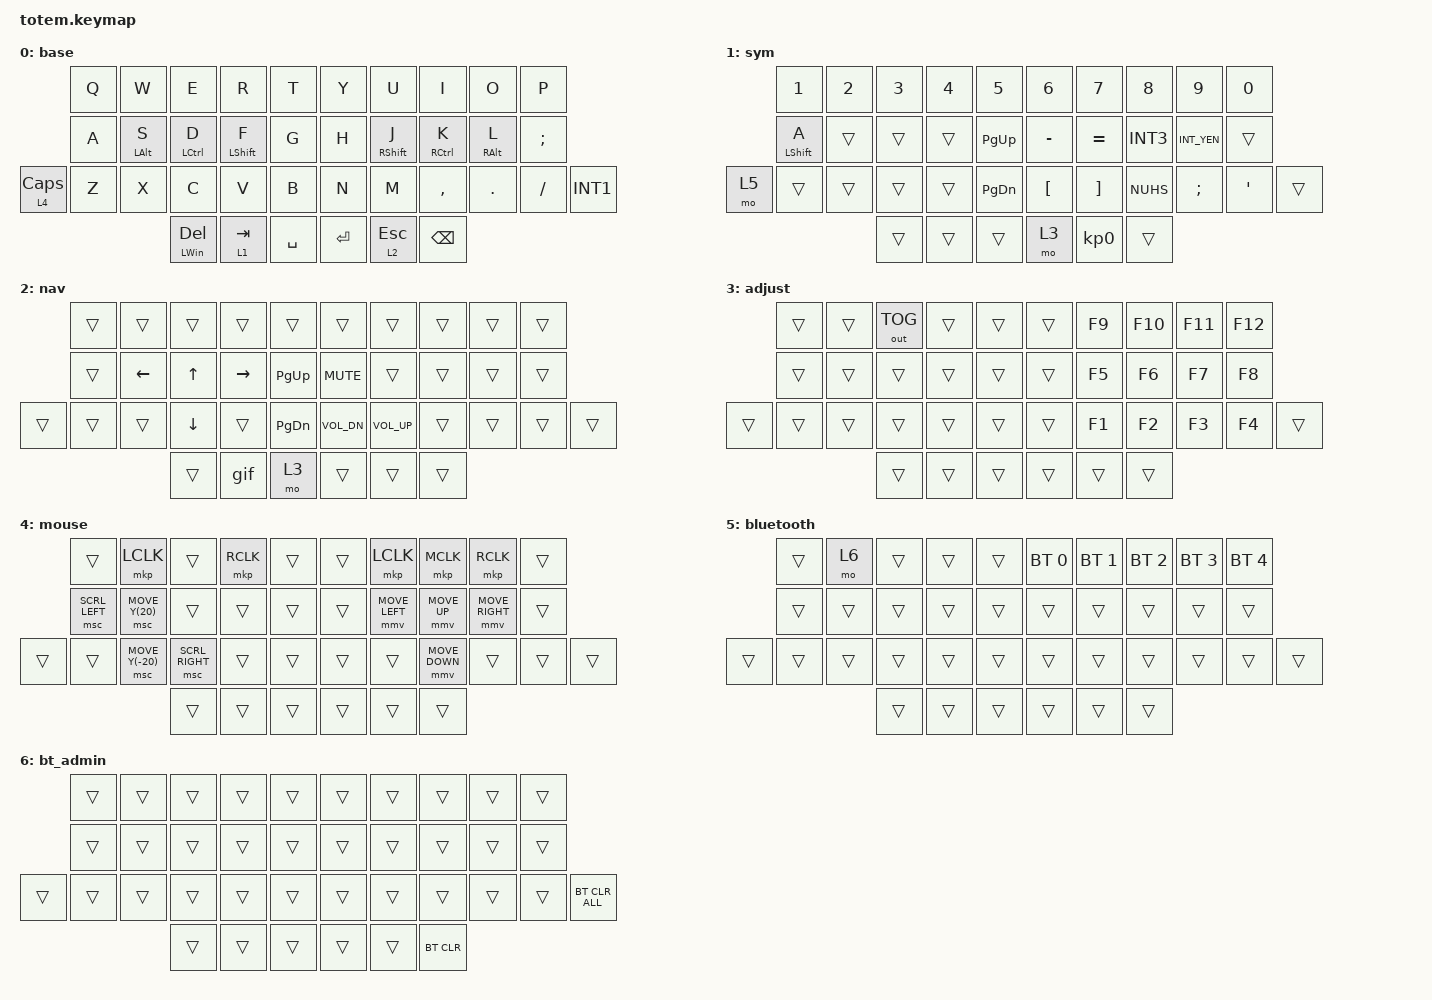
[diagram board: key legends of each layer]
//
//                                                        ▀▀▀▀▀     ▀▀▀▀▀          ▀▀█▀▀
//                                                        ▄▀▀▀▄  ▄  ▄▀▀▀▄  ▄  ▄▀▀▀▄  █  ▄▀▀▀▄
//                                                        █   █  █  █   █  █  █   █  █  █   █
//                                                         ▀▀▀   █   ▀▀▀   █   ▀▀▀   ▀   ▀▀▀
//                                                               █      ▄▄▄█▄▄▄    █   █  
//                                                               ▀      █  █  █     █▄█
//                                                             ▀▀▀▀▀    █  █  █      ▀
//                                                                      ▀  ▀  ▀
//
// ▄▄▄▄▄▄▄▄▄▄▄▄▄▄▄▄▄▄▄▄▄▄▄▄▄▄▄▄▄▄▄▄▄▄▄▄▄▄▄▄▄▄▄▄▄▄▄▄▄▄▄▄▄▄▄▄▄▄▄▄▄▄▄▄▄▄▄▄▄▄▄▄▄▄▄▄▄▄▄▄▄▄▄▄▄▄▄▄▄▄▄▄▄▄▄▄▄▄▄▄▄▄▄▄▄▄▄▄▄▄▄▄▄▄▄▄▄▄▄▄▄▄▄▄▄▄▄▄▄▄▄▄▄▄▄▄▄▄▄▄▄▄▄▄▄▄▄▄▄

#include <behaviors.dtsi>
#include <dt-bindings/zmk/bt.h>
#include <dt-bindings/zmk/keys.h>
#include <dt-bindings/zmk/outputs.h>
#include <dt-bindings/zmk/pointing.h>

#define BASE 0
#define NAV  1
#define SYM  2
#define ADJ  3
#define TVP1 4
#define TVP2 5

&mt {
    quick-tap-ms = <100>;
    global-quick-tap;
    flavor = "tap-preferred";
    tapping-term-ms = <170>;
};

/ {
    combos {
        compatible = "zmk,combos";

        combo_esc {
            timeout-ms = <50>;
            key-positions = <0 1>;
            bindings = <&kp ESC>;
        };

        bt_prof_clear_all {
            bindings = <&bt BT_CLR_ALL>;
            key-positions = <12 13 14 15 16 17>;
        };
    };

    macros {
        gif: gif {
            label = "giphy";
            compatible = "zmk,behavior-macro";
            #binding-cells = <0>;
            bindings =
                <&macro_press>,
                <&kp LSHFT>,
                <&macro_tap>,
                <&kp N2>,
                <&macro_release>,
                <&kp LSHFT>,
                <&macro_tap>,
                <&kp G &kp I &kp F>;
        };
    };

    keymap {
        compatible = "zmk,keymap";

        // ▄▄▄▄▄▄▄▄▄▄▄▄▄▄▄▄▄▄▄▄▄▄▄▄▄▄▄▄▄▄▄▄▄▄▄▄▄▄▄▄▄▄▄▄▄▄▄▄▄▄▄▄▄▄▄▄▄▄▄▄▄▄▄▄▄▄▄▄▄▄▄▄▄▄▄▄▄▄▄▄▄▄▄▄▄▄▄▄▄▄▄▄▄▄▄▄▄▄▄▄▄▄▄▄▄▄▄▄▄▄▄▄▄▄▄▄▄▄▄▄▄▄▄▄▄▄▄▄▄▄▄▄▄▄▄▄▄▄▄▄▄▄▄▄▄▄▄▄▄

        base_layer {
            display-name = "base";

            // ┏━━━━━━━━━━━━━━━━━━━━━━━━━━━━━━━━━━━━━━━┓

            label = "BASE";

            // ┗━━━━━━━━━━━━━━━━━━━━━━━━━━━━━━━━━━━━━━━┛
            //             ┏━━━━━━━━━━━┳━━━━━━━━━━━┳━━━━━━━━━━━┳━━━━━━━━━━━┳━━━━━━━━━━━┓   ┏━━━━━━━━━━━┳━━━━━━━━━━━┳━━━━━━━━━━━┳━━━━━━━━━━━┳━━━━━━━━━━━┓
            //             ┃     Q     ┃     W     ┃     F     ┃     P     ┃     G     ┃   ┃     J     ┃     L     ┃     U     ┃     Y     ┃     ;     ┃
            //             ┣━━━━━━━━━━━╋━━━━━━━━━━━╋━━━━━━━━━━━╋━━━━━━━━━━━╋━━━━━━━━━━━┫   ┣━━━━━━━━━━━╋━━━━━━━━━━━╋━━━━━━━━━━━╋━━━━━━━━━━━╋━━━━━━━━━━━┫
            //             ┃     A     ┃     R     ┃     S     ┃     T     ┃     D     ┃   ┃     H     ┃     N     ┃     E     ┃     I     ┃     O     ┃
            // ┏━━━━━━━━━━━╋━━━━━━━━━━━╋━━━━━━━━━━━╋━━━━━━━━━━━╋━━━━━━━━━━━╋━━━━━━━━━━━┫   ┣━━━━━━━━━━━╋━━━━━━━━━━━╋━━━━━━━━━━━╋━━━━━━━━━━━╋━━━━━━━━━━━╋━━━━━━━━━━━┓
            // ┃     Q     ┃     Z     ┃     X     ┃     C     ┃     V     ┃     B     ┃   ┃     K     ┃     M     ┃     ,     ┃     .     ┃     /     ┃     \     ┃
            // ┗━━━━━━━━━━━┻━━━━━━━━━━━┻━━━━━━━━━━━╋━━━━━━━━━━━╋━━━━━━━━━━━╋━━━━━━━━━━━┫   ┣━━━━━━━━━━━╋━━━━━━━━━━━╋━━━━━━━━━━━╋━━━━━━━━━━━┻━━━━━━━━━━━┻━━━━━━━━━━━┛
            //                                     ┃    DEL    ┃    TAB    ┃    SPC    ┃   ┃   ENTER   ┃           ┃   BSPC    ┃
            //                                     ┗━━━━━━━━━━━┻━━━━━━━━━━━┻━━━━━━━━━━━┛   ┗━━━━━━━━━━━┻━━━━━━━━━━━┻━━━━━━━━━━━┛

            bindings = <
                &kp Q  &kp W       &kp E                &kp R        &kp T        &kp Y    &kp U        &kp I        &kp O       &kp P
                &kp A  &mt LALT S  &mt LCTRL D          &mt LSHFT F  &kp G        &kp H    &mt RSHFT J  &mt RCTRL K  &mt RALT L  &kp SEMICOLON
&lt 4 CAPSLOCK  &kp Z  &kp X       &kp C                &kp V        &kp B        &kp N    &kp M        &kp COMMA    &kp DOT     &kp FSLH       &kp INT1
                                   &mt LEFT_WIN DELETE  &lt 1 TAB    &kp SPACE    &kp RET  &lt 2 ESC    &kp BSPC
            >;
        };

        // ▄▄▄▄▄▄▄▄▄▄▄▄▄▄▄▄▄▄▄▄▄▄▄▄▄▄▄▄▄▄▄▄▄▄▄▄▄▄▄▄▄▄▄▄▄▄▄▄▄▄▄▄▄▄▄▄▄▄▄▄▄▄▄▄▄▄▄▄▄▄▄▄▄▄▄▄▄▄▄▄▄▄▄▄▄▄▄▄▄▄▄▄▄▄▄▄▄▄▄▄▄▄▄▄▄▄▄▄▄▄▄▄▄▄▄▄▄▄▄▄▄▄▄▄▄▄▄▄▄▄▄▄▄▄▄▄▄▄▄▄▄▄▄▄▄▄▄▄▄

        sym {
            display-name = "sym";

            // ┏━━━━━━━━━━━━━━━━━━━━━━━━━━━━━━━━━━━━━━━┓

            label = "sym";

            // ┗━━━━━━━━━━━━━━━━━━━━━━━━━━━━━━━━━━━━━━━┛
            //             ┏━━━━━━━━━━━┳━━━━━━━━━━━┳━━━━━━━━━━━┳━━━━━━━━━━━┳━━━━━━━━━━━┓   ┏━━━━━━━━━━━┳━━━━━━━━━━━┳━━━━━━━━━━━┳━━━━━━━━━━━┳━━━━━━━━━━━┓
            //             ┃           ┃           ┃     UP    ┃           ┃     {     ┃   ┃     }     ┃     7     ┃     8     ┃     9     ┃     +     ┃
            //             ┣━━━━━━━━━━━╋━━━━━━━━━━━╋━━━━━━━━━━━╋━━━━━━━━━━━╋━━━━━━━━━━━┫   ┣━━━━━━━━━━━╋━━━━━━━━━━━╋━━━━━━━━━━━╋━━━━━━━━━━━╋━━━━━━━━━━━┫
            //             ┃   SHIFT   ┃   LEFT    ┃    DOWN   ┃   RIGHT   ┃     [     ┃   ┃     ]     ┃     4     ┃     5     ┃     6     ┃     -     ┃
            // ┏━━━━━━━━━━━╋━━━━━━━━━━━╋━━━━━━━━━━━╋━━━━━━━━━━━╋━━━━━━━━━━━╋━━━━━━━━━━━┫   ┣━━━━━━━━━━━╋━━━━━━━━━━━╋━━━━━━━━━━━╋━━━━━━━━━━━╋━━━━━━━━━━━╋━━━━━━━━━━━┓
            // ┃           ┃           ┃   P UP    ┃  C LOCK   ┃  P DOWN   ┃     (     ┃   ┃     )     ┃     1     ┃     2     ┃     3     ┃     *     ┃           ┃
            // ┗━━━━━━━━━━━┻━━━━━━━━━━━┻━━━━━━━━━━━╋━━━━━━━━━━━╋━━━━━━━━━━━╋━━━━━━━━━━━┫   ┣━━━━━━━━━━━╋━━━━━━━━━━━╋━━━━━━━━━━━╋━━━━━━━━━━━┻━━━━━━━━━━━┻━━━━━━━━━━━┛
            //                                     ┃           ┃    TAB    ┃    SPC    ┃   ┃    DEL    ┃     0     ┃           ┃
            //                                     ┗━━━━━━━━━━━┻━━━━━━━━━━━┻━━━━━━━━━━━┛   ┗━━━━━━━━━━━┻━━━━━━━━━━━┻━━━━━━━━━━━┛

            bindings = <
       &kp NUMBER_1  &kp NUMBER_2  &kp NUMBER_3  &kp NUMBER_4  &kp NUMBER_5    &kp NUMBER_6      &kp NUMBER_7       &kp NUMBER_8  &kp NUMBER_9   &kp NUMBER_0
       &mt LSHFT A   &trans        &trans        &trans        &kp PG_UP       &kp MINUS         &kp EQUAL          &kp INT3      &kp INT_YEN    &trans
&mo 5  &trans        &trans        &trans        &trans        &kp PG_DN       &kp LEFT_BRACKET  &kp RIGHT_BRACKET  &kp NUHS      &kp SEMICOLON  &kp SINGLE_QUOTE  &trans
                                   &trans        &trans        &trans          &mo 3             &kp KP_N0          &trans
            >;
        };

        // ▄▄▄▄▄▄▄▄▄▄▄▄▄▄▄▄▄▄▄▄▄▄▄▄▄▄▄▄▄▄▄▄▄▄▄▄▄▄▄▄▄▄▄▄▄▄▄▄▄▄▄▄▄▄▄▄▄▄▄▄▄▄▄▄▄▄▄▄▄▄▄▄▄▄▄▄▄▄▄▄▄▄▄▄▄▄▄▄▄▄▄▄▄▄▄▄▄▄▄▄▄▄▄▄▄▄▄▄▄▄▄▄▄▄▄▄▄▄▄▄▄▄▄▄▄▄▄▄▄▄▄▄▄▄▄▄▄▄▄▄▄▄▄▄▄▄▄▄▄

        nav {
            display-name = "nav";

            // ┏━━━━━━━━━━━━━━━━━━━━━━━━━━━━━━━━━━━━━━━┓

            label = "NAV";

            // ┗━━━━━━━━━━━━━━━━━━━━━━━━━━━━━━━━━━━━━━━┛
            //             ┏━━━━━━━━━━━┳━━━━━━━━━━━┳━━━━━━━━━━━┳━━━━━━━━━━━┳━━━━━━━━━━━┓   ┏━━━━━━━━━━━┳━━━━━━━━━━━┳━━━━━━━━━━━┳━━━━━━━━━━━┳━━━━━━━━━━━┓
            //             ┃     !     ┃     @     ┃     #     ┃     $     ┃     %     ┃   ┃     ˆ     ┃     &     ┃     Ü     ┃     '     ┃     "     ┃
            //             ┣━━━━━━━━━━━╋━━━━━━━━━━━╋━━━━━━━━━━━╋━━━━━━━━━━━╋━━━━━━━━━━━┫   ┣━━━━━━━━━━━╋━━━━━━━━━━━╋━━━━━━━━━━━╋━━━━━━━━━━━╋━━━━━━━━━━━┫
            //             ┃     Ä     ┃           ┃    SZ     ┃           ┃           ┃   ┃   MUTE    ┃   YEN     ┃   EURO    ┃  POUND    ┃     Ö     ┃
            // ┏━━━━━━━━━━━╋━━━━━━━━━━━╋━━━━━━━━━━━╋━━━━━━━━━━━╋━━━━━━━━━━━╋━━━━━━━━━━━┫   ┣━━━━━━━━━━━╋━━━━━━━━━━━╋━━━━━━━━━━━╋━━━━━━━━━━━╋━━━━━━━━━━━╋━━━━━━━━━━━┓
            // ┃           ┃  EMAIL1   ┃  EMAIL2   ┃           ┃           ┃           ┃   ┃   VOL-    ┃   VOL+    ┃   LAST    ┃   NEXT    ┃     \     ┃           ┃
            // ┗━━━━━━━━━━━┻━━━━━━━━━━━┻━━━━━━━━━━━╋━━━━━━━━━━━╋━━━━━━━━━━━╋━━━━━━━━━━━┫   ┣━━━━━━━━━━━╋━━━━━━━━━━━╋━━━━━━━━━━━╋━━━━━━━━━━━┻━━━━━━━━━━━┻━━━━━━━━━━━┛
            //                                     ┃           ┃    GIF    ┃    ADJ    ┃   ┃           ┃           ┃           ┃
            //                                     ┗━━━━━━━━━━━┻━━━━━━━━━━━┻━━━━━━━━━━━┛   ┗━━━━━━━━━━━┻━━━━━━━━━━━┻━━━━━━━━━━━┛

            bindings = <
        &trans  &trans    &trans    &trans     &trans           &trans        &trans        &trans  &trans  &trans
        &trans  &kp LEFT  &kp UP    &kp RIGHT  &kp PG_UP        &kp C_MUTE    &trans        &trans  &trans  &trans
&trans  &trans  &trans    &kp DOWN  &trans     &kp PAGE_DOWN    &kp C_VOL_DN  &kp C_VOL_UP  &trans  &trans  &trans  &trans
                          &trans    &gif       &mo 3            &trans        &trans        &trans
            >;
        };

        // ▄▄▄▄▄▄▄▄▄▄▄▄▄▄▄▄▄▄▄▄▄▄▄▄▄▄▄▄▄▄▄▄▄▄▄▄▄▄▄▄▄▄▄▄▄▄▄▄▄▄▄▄▄▄▄▄▄▄▄▄▄▄▄▄▄▄▄▄▄▄▄▄▄▄▄▄▄▄▄▄▄▄▄▄▄▄▄▄▄▄▄▄▄▄▄▄▄▄▄▄▄▄▄▄▄▄▄▄▄▄▄▄▄▄▄▄▄▄▄▄▄▄▄▄▄▄▄▄▄▄▄▄▄▄▄▄▄▄▄▄▄▄▄▄▄▄▄▄▄

        adjust_layer {
            display-name = "adjust";

            // ┏━━━━━━━━━━━━━━━━━━━━━━━━━━━━━━━━━━━━━━━┓

            label = "ADJ";

            // ┗━━━━━━━━━━━━━━━━━━━━━━━━━━━━━━━━━━━━━━━┛
            //             ┏━━━━━━━━━━━┳━━━━━━━━━━━┳━━━━━━━━━━━┳━━━━━━━━━━━┳━━━━━━━━━━━┓   ┏━━━━━━━━━━━┳━━━━━━━━━━━┳━━━━━━━━━━━┳━━━━━━━━━━━┳━━━━━━━━━━━┓
            //             ┃   RESET   ┃ BT CLEAR  ┃  OUT TOG  ┃           ┃           ┃   ┃           ┃    F7     ┃    F8     ┃    F9     ┃    F12    ┃
            //             ┣━━━━━━━━━━━╋━━━━━━━━━━━╋━━━━━━━━━━━╋━━━━━━━━━━━╋━━━━━━━━━━━┫   ┣━━━━━━━━━━━╋━━━━━━━━━━━╋━━━━━━━━━━━╋━━━━━━━━━━━╋━━━━━━━━━━━┫
            //             ┃ BOOTLOAD  ┃ BT NEXT   ┃           ┃           ┃           ┃   ┃           ┃    F4     ┃    F5     ┃    F6     ┃    F11    ┃
            // ┏━━━━━━━━━━━╋━━━━━━━━━━━╋━━━━━━━━━━━╋━━━━━━━━━━━╋━━━━━━━━━━━╋━━━━━━━━━━━┫   ┣━━━━━━━━━━━╋━━━━━━━━━━━╋━━━━━━━━━━━╋━━━━━━━━━━━╋━━━━━━━━━━━╋━━━━━━━━━━━┓
            // ┃           ┃           ┃ BT PREV   ┃           ┃           ┃           ┃   ┃           ┃    F1     ┃    F2     ┃    F3     ┃    F10    ┃           ┃
            // ┗━━━━━━━━━━━┻━━━━━━━━━━━┻━━━━━━━━━━━╋━━━━━━━━━━━╋━━━━━━━━━━━╋━━━━━━━━━━━┫   ┣━━━━━━━━━━━╋━━━━━━━━━━━╋━━━━━━━━━━━╋━━━━━━━━━━━┻━━━━━━━━━━━┻━━━━━━━━━━━┛
            //                                     ┃           ┃           ┃           ┃   ┃           ┃           ┃           ┃
            //                                     ┗━━━━━━━━━━━┻━━━━━━━━━━━┻━━━━━━━━━━━┛   ┗━━━━━━━━━━━┻━━━━━━━━━━━┻━━━━━━━━━━━┛

            bindings = <
        &trans  &trans  &out OUT_TOG  &trans  &trans    &trans  &kp F9  &kp F10  &kp F11  &kp F12
        &trans  &trans  &trans        &trans  &trans    &trans  &kp F5  &kp F6   &kp F7   &kp F8
&trans  &trans  &trans  &trans        &trans  &trans    &trans  &kp F1  &kp F2   &kp F3   &kp F4   &trans
                        &trans        &trans  &trans    &trans  &trans  &trans
            >;
        };

        // ▄▄▄▄▄▄▄▄▄▄▄▄▄▄▄▄▄▄▄▄▄▄▄▄▄▄▄▄▄▄▄▄▄▄▄▄▄▄▄▄▄▄▄▄▄▄▄▄▄▄▄▄▄▄▄▄▄▄▄▄▄▄▄▄▄▄▄▄▄▄▄▄▄▄▄▄▄▄▄▄▄▄▄▄▄▄▄▄▄▄▄▄▄▄▄▄▄▄▄▄▄▄▄▄▄▄▄▄▄▄▄▄▄▄▄▄▄▄▄▄▄▄▄▄▄▄▄▄▄▄▄▄▄▄▄▄▄▄▄▄▄▄▄▄▄▄▄▄▄
        // ▄▄▄▄▄▄▄▄▄▄▄▄▄▄▄▄▄▄▄▄▄▄▄▄▄▄▄▄▄▄▄▄▄▄▄▄▄▄▄▄▄▄▄▄▄▄▄▄▄▄▄▄▄▄▄▄▄▄▄▄▄▄▄▄▄▄▄▄▄▄▄▄▄▄▄▄▄▄▄▄▄▄▄▄▄▄▄▄▄▄▄▄▄▄▄▄▄▄▄▄▄▄▄▄▄▄▄▄▄▄▄▄▄▄▄▄▄▄▄▄▄▄▄▄▄▄▄▄▄▄▄▄▄▄▄▄▄▄▄▄▄▄▄▄▄▄▄▄▄

        mouse {
            display-name = "mouse";
            bindings = <
        &trans          &mkp LCLK         &trans           &mkp RCLK  &trans    &trans  &mkp LCLK       &mkp MCLK       &mkp RCLK        &trans
        &msc SCRL_LEFT  &msc MOVE_Y(20)   &trans           &trans     &trans    &trans  &mmv MOVE_LEFT  &mmv MOVE_UP    &mmv MOVE_RIGHT  &trans
&trans  &trans          &msc MOVE_Y(-20)  &msc SCRL_RIGHT  &trans     &trans    &trans  &trans          &mmv MOVE_DOWN  &trans           &trans  &trans
                                          &trans           &trans     &trans    &trans  &trans          &trans
            >;
        };

        bluetooth {
            display-name = "bluetooth";
            bindings = <
        &trans  &mo 6   &trans  &trans  &trans    &bt BT_SEL 0  &bt BT_SEL 1  &bt BT_SEL 2  &bt BT_SEL 3  &bt BT_SEL 4
        &trans  &trans  &trans  &trans  &trans    &trans        &trans        &trans        &trans        &trans
&trans  &trans  &trans  &trans  &trans  &trans    &trans        &trans        &trans        &trans        &trans        &trans
                        &trans  &trans  &trans    &trans        &trans        &trans
            >;
        };

        bluetooth_admin {
            display-name = "bt_admin";
            bindings = <
        &trans  &trans  &trans  &trans  &trans    &trans  &trans  &trans      &trans  &trans
        &trans  &trans  &trans  &trans  &trans    &trans  &trans  &trans      &trans  &trans
&trans  &trans  &trans  &trans  &trans  &trans    &trans  &trans  &trans      &trans  &trans  &bt BT_CLR_ALL
                        &trans  &trans  &trans    &trans  &trans  &bt BT_CLR
            >;
        };
    };
};
